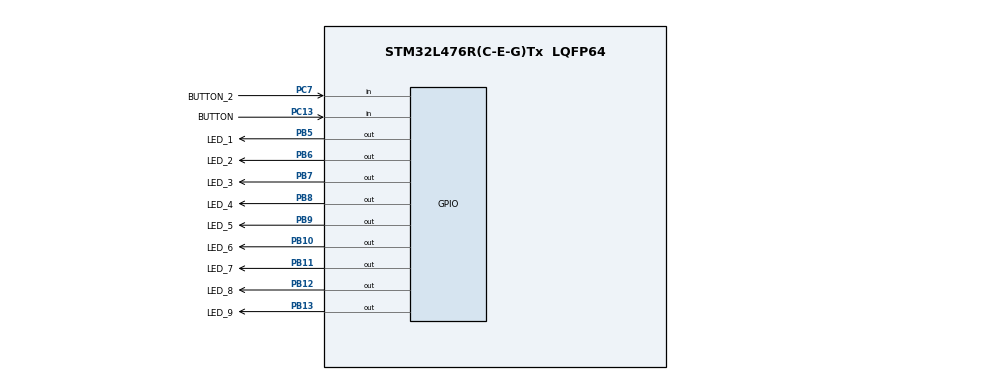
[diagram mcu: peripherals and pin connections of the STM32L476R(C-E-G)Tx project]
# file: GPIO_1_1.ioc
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Mcu.Family=STM32L4
Mcu.Name=STM32L476R(C-E-G)Tx
Mcu.Package=LQFP64
NVIC.PriorityGroup=NVIC_PRIORITYGROUP_4
PB10.GPIO_Label=LED_6
PB10.Signal=GPIO_Output
PB11.GPIO_Label=LED_7
PB11.Signal=GPIO_Output
PB12.GPIO_Label=LED_8
PB12.Signal=GPIO_Output
PB13.GPIO_Label=LED_9
PB13.Signal=GPIO_Output
PB5.GPIO_Label=LED_1
PB5.Signal=GPIO_Output
PB6.GPIO_Label=LED_2
PB6.Signal=GPIO_Output
PB7.GPIO_Label=LED_3
PB7.Signal=GPIO_Output
PB8.GPIO_Label=LED_4
PB8.Signal=GPIO_Output
PB9.GPIO_Label=LED_5
PB9.Signal=GPIO_Output
PC13.GPIO_Label=BUTTON
PC13.GPIO_PuPd=GPIO_PULLUP
PC13.Signal=GPIO_Input
PC7.GPIO_Label=BUTTON_2
PC7.GPIO_PuPd=GPIO_PULLUP
PC7.Signal=GPIO_Input
ProjectManager.HeapSize=0x200
ProjectManager.StackSize=0x400
ProjectManager.TargetToolchain=STM32CubeIDE
RCC.HSE_VALUE=8000000
RCC.HSI_VALUE=16000000
RCC.LSE_VALUE=32768
RCC.MSI_VALUE=4000000
RCC.VCOOutputFreq_Value=32000000
board=custom

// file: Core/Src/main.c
/* USER CODE BEGIN Header */
/**
  ******************************************************************************
  * @file           : main.c
  * @brief          : Main program body
  ******************************************************************************
  * @attention
  *
  * Copyright (c) 2023 STMicroelectronics.
  * All rights reserved.
  *
  * This software is licensed under terms that can be found in the LICENSE file
  * in the root directory of this software component.
  * If no LICENSE file comes with this software, it is provided AS-IS.
  *
  ******************************************************************************
  */
/* USER CODE END Header */
#include "main.h"

/* USER CODE BEGIN Includes */
#include <stdbool.h>

/* USER CODE END Includes */

void SystemClock_Config(void);
static void MX_GPIO_Init(void);

/* USER CODE BEGIN 0 */
typedef struct {
	GPIO_TypeDef* port;
	uint16_t pin;
}led_struct;

led_struct LED[] = {
		{LED_1_GPIO_Port,LED_1_Pin},
		{LED_2_GPIO_Port,LED_2_Pin},
		{LED_3_GPIO_Port,LED_3_Pin},
		{LED_4_GPIO_Port,LED_4_Pin},
		{LED_5_GPIO_Port,LED_5_Pin},
		{LED_6_GPIO_Port,LED_6_Pin},
		{LED_7_GPIO_Port,LED_7_Pin},
		{LED_8_GPIO_Port,LED_8_Pin},
		{LED_9_GPIO_Port,LED_9_Pin},
};

bool is_button_pressed(int button){
	switch(button){
	case 0:
	  if (HAL_GPIO_ReadPin(BUTTON_GPIO_Port, BUTTON_Pin) == GPIO_PIN_RESET) {
		return true;
	  } else {
		return false;
	  }
	case 1:
	  if (HAL_GPIO_ReadPin(BUTTON_2_GPIO_Port, BUTTON_2_Pin) == GPIO_PIN_RESET) {
		return true;
	  } else {
		return false;
	  }
	default:
		return false;
	}
}

void led_switch(int led, bool turn)
{
	GPIO_PinState state = (turn) ? GPIO_PIN_SET : GPIO_PIN_RESET;

	if (led >= 0 && led < 9)
		HAL_GPIO_WritePin(LED[led].port, LED[led].pin, state);
}
/* USER CODE END 0 */

int main(void)
{

  /* MCU Configuration--------------------------------------------------------*/

  /* Reset of all peripherals, Initializes the Flash interface and the Systick. */
  HAL_Init();

  /* Configure the system clock */
  SystemClock_Config();

  /* Initialize all configured peripherals */
  MX_GPIO_Init();

  /* Infinite loop */
  /* USER CODE BEGIN WHILE */
  int led=0;
  led_switch(led, true);

  while (1)
  {
	  	 if (is_button_pressed(0))								//not perfect (reacting only on pressing)
	  	 {
	  		 led_switch(led, false);
	  		 if(++led>=9)
	  			 led=0;

	  		 led_switch(led, true);

	  	 while (is_button_pressed(0))
	  	    {}
	  	 }
		if (is_button_pressed(1))								//not perfect (reacting only on pressing)
			{
					 led_switch(led, false);

					 if(--led<0)
					 {
						led=8;
					 }
					 led_switch(led, true);

		  HAL_Delay(20);
		  while (is_button_pressed(1))
					{}
			}
    /* USER CODE END WHILE */

  }
}

void SystemClock_Config(void)
{
  RCC_OscInitTypeDef RCC_OscInitStruct = {0};
  RCC_ClkInitTypeDef RCC_ClkInitStruct = {0};

  /** Configure the main internal regulator output voltage
  */
  if (HAL_PWREx_ControlVoltageScaling(PWR_REGULATOR_VOLTAGE_SCALE1) != HAL_OK)
  {
    Error_Handler();
  }

  /** Initializes the RCC Oscillators according to the specified parameters
  * in the RCC_OscInitTypeDef structure.
  */
  RCC_OscInitStruct.OscillatorType = RCC_OSCILLATORTYPE_MSI;
  RCC_OscInitStruct.MSIState = RCC_MSI_ON;
  RCC_OscInitStruct.MSICalibrationValue = 0;
  RCC_OscInitStruct.MSIClockRange = RCC_MSIRANGE_6;
  RCC_OscInitStruct.PLL.PLLState = RCC_PLL_NONE;
  if (HAL_RCC_OscConfig(&RCC_OscInitStruct) != HAL_OK)
  {
    Error_Handler();
  }

  /** Initializes the CPU, AHB and APB buses clocks
  */
  RCC_ClkInitStruct.ClockType = RCC_CLOCKTYPE_HCLK|RCC_CLOCKTYPE_SYSCLK
                              |RCC_CLOCKTYPE_PCLK1|RCC_CLOCKTYPE_PCLK2;
  RCC_ClkInitStruct.SYSCLKSource = RCC_SYSCLKSOURCE_MSI;
  RCC_ClkInitStruct.AHBCLKDivider = RCC_SYSCLK_DIV1;
  RCC_ClkInitStruct.APB1CLKDivider = RCC_HCLK_DIV1;
  RCC_ClkInitStruct.APB2CLKDivider = RCC_HCLK_DIV1;

  if (HAL_RCC_ClockConfig(&RCC_ClkInitStruct, FLASH_LATENCY_0) != HAL_OK)
  {
    Error_Handler();
  }
}

static void MX_GPIO_Init(void)
{
  GPIO_InitTypeDef GPIO_InitStruct = {0};

  /* GPIO Ports Clock Enable */
  __HAL_RCC_GPIOC_CLK_ENABLE();
  __HAL_RCC_GPIOB_CLK_ENABLE();

  /*Configure GPIO pin Output Level */
  HAL_GPIO_WritePin(GPIOB, LED_6_Pin|LED_7_Pin|LED_8_Pin|LED_9_Pin
                          |LED_1_Pin|LED_2_Pin|LED_3_Pin|LED_4_Pin
                          |LED_5_Pin, GPIO_PIN_RESET);

  /*Configure GPIO pins : BUTTON_Pin BUTTON_2_Pin */
  GPIO_InitStruct.Pin = BUTTON_Pin|BUTTON_2_Pin;
  GPIO_InitStruct.Mode = GPIO_MODE_INPUT;
  GPIO_InitStruct.Pull = GPIO_PULLUP;
  HAL_GPIO_Init(GPIOC, &GPIO_InitStruct);

  /*Configure GPIO pins : LED_6_Pin LED_7_Pin LED_8_Pin LED_9_Pin
                           LED_1_Pin LED_2_Pin LED_3_Pin LED_4_Pin
                           LED_5_Pin */
  GPIO_InitStruct.Pin = LED_6_Pin|LED_7_Pin|LED_8_Pin|LED_9_Pin
                          |LED_1_Pin|LED_2_Pin|LED_3_Pin|LED_4_Pin
                          |LED_5_Pin;
  GPIO_InitStruct.Mode = GPIO_MODE_OUTPUT_PP;
  GPIO_InitStruct.Pull = GPIO_NOPULL;
  GPIO_InitStruct.Speed = GPIO_SPEED_FREQ_LOW;
  HAL_GPIO_Init(GPIOB, &GPIO_InitStruct);

}

void Error_Handler(void)
{
  __disable_irq();
  while (1)
  {
  }
}
